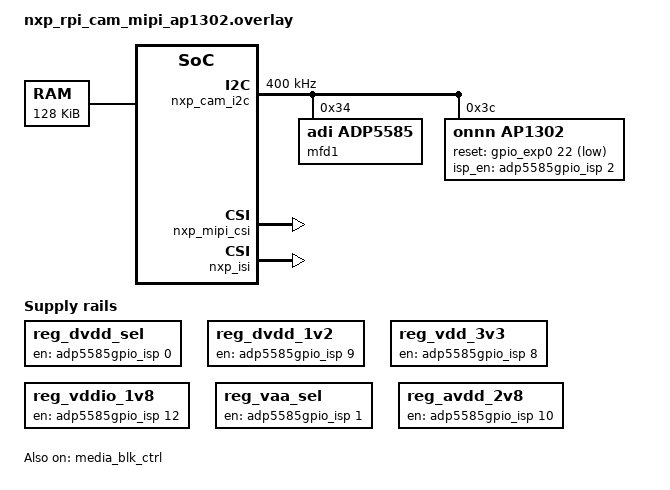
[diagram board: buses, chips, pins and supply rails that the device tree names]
/*
 * Copyright 2025 NXP
 *
 * SPDX-License-Identifier: Apache-2.0
 */

#include <zephyr/dt-bindings/video/video-interfaces.h>

/ {
	chosen {
		zephyr,camera = &nxp_isi;
		zephyr,sensor_fw = &ap1302_fw;
	};

	ap1302_fw: memory@e1000000 {
		reg = <0xe1000000 DT_SIZE_K(128)>;
	};

	reg_dvdd_sel: regulator-dvdd_sel {
		compatible = "regulator-fixed";
		regulator-name = "DVDD_SEL";
		enable-gpios = <&adp5585gpio_isp 0 GPIO_ACTIVE_HIGH>;
		startup-delay-us = <2000>;
		regulator-boot-on;
		regulator-always-on;
	};

	reg_dvdd_1v2: regulator-dvdd {
		compatible = "regulator-fixed";
		regulator-name = "DVDD_1V2";
		enable-gpios = <&adp5585gpio_isp 9 GPIO_ACTIVE_HIGH>;
	};

	reg_vdd_3v3: regulator-vdd {
		compatible = "regulator-fixed";
		regulator-name = "VDD_3V3";
		enable-gpios = <&adp5585gpio_isp 8 GPIO_ACTIVE_HIGH>;
		startup-delay-us = <4000>;
		regulator-boot-on;
		regulator-always-on;
	};

	reg_vddio_1v8: regulator-vddo {
		compatible = "regulator-fixed";
		regulator-name = "VDDIO_1V8";
		enable-gpios = <&adp5585gpio_isp 12 GPIO_ACTIVE_HIGH>;
		startup-delay-us = <4000>;
	};

	reg_vaa_sel: regulator-vaa_sel {
		compatible = "regulator-fixed";
		regulator-name = "VAA_SEL";
		enable-gpios = <&adp5585gpio_isp 1 GPIO_ACTIVE_HIGH>;
		regulator-boot-on;
		regulator-always-on;
	};

	reg_avdd_2v8: regulator-avdd {
		compatible = "regulator-fixed";
		regulator-name = "AVDD_2V8";
		enable-gpios = <&adp5585gpio_isp 10 GPIO_ACTIVE_HIGH>;
	};
};

&dram {
	reg = <0xd0000000 DT_SIZE_M(256)>;
};

&nxp_cam_i2c {
	clock-frequency = <I2C_BITRATE_FAST>;
	pinctrl-0 = <&i2c3_default>;
	pinctrl-names = "default";
	status = "okay";
	clock-frequency = <I2C_BITRATE_FAST>;

	mfd1:adp5585@34 {
		compatible = "adi,adp5585";
		reg = <0x34>;
		status = "okay";

		adp5585gpio_isp: adp5585_gpio {
			compatible = "adi,adp5585-gpio";
			gpio-controller;
			#gpio-cells = <2>;
			ngpios = <13>;
			gpio-reserved-ranges = <5 3>;
			status = "okay";
		};
	};

	ap1302: ap1302_mipi@3c {
		compatible = "onnn,ap1302";
		reg = <0x3c>;
		reset-gpios   = <&gpio_exp0 22 GPIO_ACTIVE_LOW>;
		isp_en-gpios  = <&adp5585gpio_isp 2 GPIO_ACTIVE_HIGH>;
		regulators    = <&reg_dvdd_sel>,
				<&reg_dvdd_1v2>,
				<&reg_vdd_3v3>,
				<&reg_vddio_1v8>,
				<&reg_vaa_sel>,
				<&reg_avdd_2v8>;
		status = "okay";

		port {
			ap1302_ep_out: endpoint {
				remote-endpoint-label = "dwc_mipi_csi2rx_ep_in";
				data-lanes = <1 2>;
			};
		};
	};
};

&media_blk_ctrl {
	status = "okay";
};

&nxp_mipi_csi {
	data-lanes = <2>;
	cfg-clk-range = <28>;
	hs-clk-range = <0x2b>;
	cam-pix-clk-rate = <140000000>;
	mipi-phy-cfg-clk-rate = <24000000>;
	status = "okay";

	port {
		#address-cells = <1>;
		#size-cells = <0>;

		dwc_mipi_csi2rx_ep_in: endpoint@0 {
			reg = <0x0>;
			remote-endpoint-label = "ap1302_ep_out";
		};

		dwc_mipi_csi2rx_ep_out: endpoint@1 {
			reg = <0x1>;
			remote-endpoint-label = "isi_ep_in";
		};
	};
};

&nxp_isi {
	media-axi-clk-rate = <400000000>;
	media-apb-clk-rate = <133333334>;
	status = "okay";

	port {
		isi_ep_in: endpoint {
			remote-endpoint-label = "dwc_mipi_csi2rx_ep_out";
		};
	};
};
